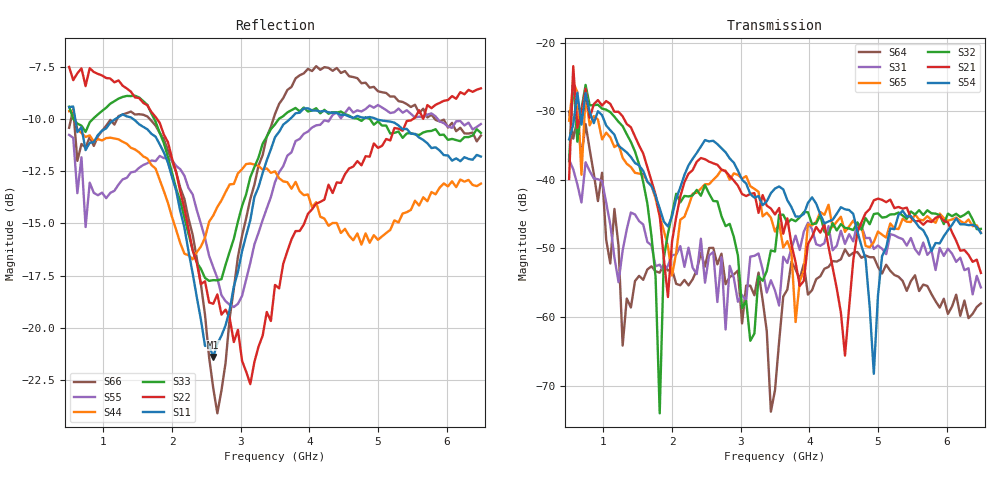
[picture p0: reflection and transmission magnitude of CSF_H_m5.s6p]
!Keysight Technologies,M9804A,MY58100912,A.14.10.03
!Date: Thursday, April 27, 2023 10:28:33
!Correction: S11(C  6-Port  )
!S12(C  6-Port  )
!S13(C  6-Port  )
!S14(C  6-Port  )
!S15(C  6-Port  )
!S16(C  6-Port  )
!S21(C  6-Port  )
!S22(C  6-Port  )
!S23(C  6-Port  )
!S24(C  6-Port  )
!S25(C  6-Port  )
!S26(C  6-Port  )
!S31(C  6-Port  )
!S32(C  6-Port  )
!S33(C  6-Port  )
!S34(C  6-Port  )
!S35(C  6-Port  )
!S36(C  6-Port  )
!S41(C  6-Port  )
!S42(C  6-Port  )
!S43(C  6-Port  )
!S44(C  6-Port  )
!S45(C  6-Port  )
!S46(C  6-Port  )
!S51(C  6-Port  )
!S52(C  6-Port  )
!S53(C  6-Port  )
!S54(C  6-Port  )
!S55(C  6-Port  )
!S56(C  6-Port  )
!S61(C  6-Port  )
!S62(C  6-Port  )
!S63(C  6-Port  )
!S64(C  6-Port  )
!S65(C  6-Port  )
!S66(C  6-Port  )
!S6P File: Measurement: :
# Hz S  RI  R 50
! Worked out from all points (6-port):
!   101 points, 500 MHz to 6.5 GHz, reference 50 ohm
!   strongest paths, dB at 500 MHz, 2 GHz, 3.5 GHz, 5 GHz, 6.5 GHz:
!     S54: -34.1, -45.3, -41.3, -56.9, -47.8
!     S21: -39.9, -48.9, -45.0, -42.7, -53.6
!     S32: -37.3, -44.9, -50.4, -44.9, -47.1
!     S65: -31.4, -53.9, -47.5, -47.5, -47.7
!     S31: -37.0, -51.0, -56.1, -49.6, -55.7
!     S64: -30.0, -53.0, -70.7, -52.7, -58.0
!   lowest |S11| = -21.4 dB at 2.6 GHz (marker M1), VSWR 1.19, Z = 42.4 + j2.2 ohm
!   |S11| at or under -10 dB: 589.7 MHz to 1.17 GHz (580.3 MHz wide, 66 % of centre); 1.437 GHz to 3.715 GHz (2.278 GHz wide, 88.4 % of centre); 4.982 GHz to end of sweep
